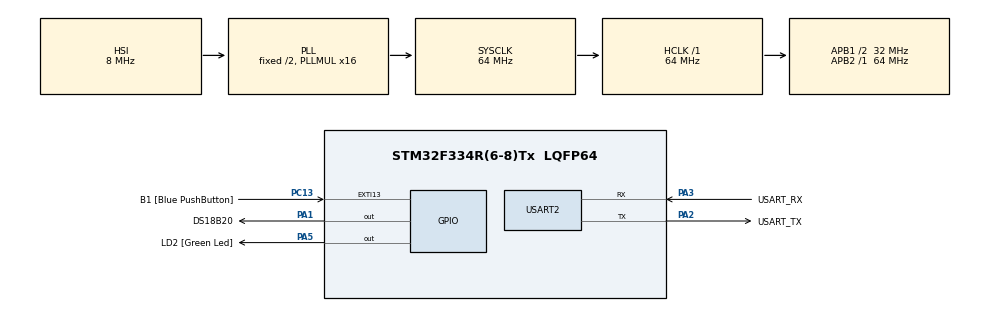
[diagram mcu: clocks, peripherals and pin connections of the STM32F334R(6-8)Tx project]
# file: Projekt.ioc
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Mcu.Family=STM32F3
Mcu.Name=STM32F334R(6-8)Tx
Mcu.Package=LQFP64
NVIC.EXTI15_10_IRQn=true\:0\:0\:false\:false\:true\:true\:true
NVIC.PriorityGroup=NVIC_PRIORITYGROUP_0
NVIC.TIM1_BRK_TIM15_IRQn=true\:0\:0\:false\:false\:true\:true\:true
NVIC.TIM3_IRQn=true\:0\:0\:false\:false\:true\:true\:true
NVIC.USART2_IRQn=true\:0\:0\:false\:false\:true\:true\:true
PA1.GPIO_Label=DS18B20
PA1.Signal=GPIO_Output
PA13.GPIO_Label=TMS
PA13.Mode=Serial_Wire
PA13.Signal=SYS_JTMS-SWDIO
PA14.GPIO_Label=TCK
PA14.Mode=Serial_Wire
PA14.Signal=SYS_JTCK-SWCLK
PA2.GPIO_Label=USART_TX
PA2.Mode=Asynchronous
PA2.Signal=USART2_TX
PA3.GPIO_Label=USART_RX
PA3.Mode=Asynchronous
PA3.Signal=USART2_RX
PA5.GPIO_Label=LD2 [Green Led]
PA5.Signal=GPIO_Output
PB3.GPIO_Label=SWO
PB3.Signal=SYS_JTDO-TRACESWO
PC13.GPIO_Label=B1 [Blue PushButton]
PC13.GPIO_ModeDefaultEXTI=GPIO_MODE_IT_FALLING
PC13.Signal=GPXTI13
PC14\ /\ OSC32_IN.Mode=LSE-External-Oscillator
PC14\ /\ OSC32_IN.Signal=RCC_OSC32_IN
PC15\ /\ OSC32_OUT.GPIO_Label=RCC_OSC32_OUT
PC15\ /\ OSC32_OUT.Mode=LSE-External-Oscillator
PC15\ /\ OSC32_OUT.Signal=RCC_OSC32_OUT
PF0\ /\ OSC_IN.Mode=HSE-External-Clock-Source
PF0\ /\ OSC_IN.Signal=RCC_OSC_IN
PF1\ /\ OSC_OUT.Signal=RCC_OSC_OUT
ProjectManager.HeapSize=0x200
ProjectManager.StackSize=0x400
ProjectManager.TargetToolchain=SW4STM32
RCC.AHBFreq_Value=64000000
RCC.APB1CLKDivider=RCC_HCLK_DIV2
RCC.APB1Freq_Value=32000000
RCC.APB1TimFreq_Value=64000000
RCC.APB2Freq_Value=64000000
RCC.APB2TimFreq_Value=64000000
RCC.CortexFreq_Value=64000000
RCC.FLatency-AdvancedSettings=FLASH_LATENCY_2
RCC.HCLKFreq_Value=64000000
RCC.HSE_VALUE=8000000
RCC.HSI_VALUE=8000000
RCC.PLLMUL=RCC_PLL_MUL16
RCC.SYSCLKFreq_VALUE=64000000
RCC.SYSCLKSourceVirtual=RCC_SYSCLKSOURCE_PLLCLK
TIM1.Period=65000
TIM1.Prescaler=63
TIM3.Period=1000-1
TIM3.Prescaler=64000-1
USART2.VirtualMode-Asynchronous=VM_ASYNC
VP_TIM1_VS_ClockSourceINT.Mode=Internal
VP_TIM3_VS_ClockSourceINT.Mode=Internal
board=NUCLEO-F334R8

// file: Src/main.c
/* USER CODE BEGIN Header */
/**
  ******************************************************************************
  * @file           : main.c
  * @brief          : Main program body
  ******************************************************************************
  * @attention
  *
  * <h2><center>&copy; Copyright (c) 2019 STMicroelectronics.
  * All rights reserved.</center></h2>
  *
  * This software component is licensed by ST under BSD 3-Clause license,
  * the "License"; You may not use this file except in compliance with the
  * License. You may obtain a copy of the License at:
  *                        opensource.org/licenses/BSD-3-Clause
  *
  ******************************************************************************
  */
/* USER CODE END Header */

#include "main.h"

/* USER CODE BEGIN Includes */
#include "ds18b20.h"
#include "onewire.h"
#include "string.h"
/* USER CODE END Includes */

/* USER CODE BEGIN PD */
#define BUF_SIZE 32
/* USER CODE END PD */

TIM_HandleTypeDef htim1;
TIM_HandleTypeDef htim3;

UART_HandleTypeDef huart2;

/* USER CODE BEGIN PV */
float temperature;
int measure_number;
char message[64];
uint8_t receive[BUF_SIZE];
uint8_t send[BUF_SIZE];
uint8_t counter=0;
int overflow=0;
int inf=0;
/* USER CODE END PV */

void SystemClock_Config(void);
static void MX_GPIO_Init(void);
static void MX_TIM1_Init(void);
static void MX_TIM3_Init(void);
static void MX_USART2_UART_Init(void);
/* USER CODE BEGIN PFP */
void Parser(uint8_t[], uint8_t);
void getTemp();
/* USER CODE END PFP */

int main(void)
{

  /* MCU Configuration--------------------------------------------------------*/

  /* Reset of all peripherals, Initializes the Flash interface and the Systick. */
  HAL_Init();

  /* Configure the system clock */
  SystemClock_Config();

  /* Initialize all configured peripherals */
  MX_GPIO_Init();
  MX_TIM1_Init();
  MX_TIM3_Init();
  MX_USART2_UART_Init();
  /* USER CODE BEGIN 2 */

  HAL_UART_Receive_IT(&huart2, receive, 1);
  HAL_UART_Transmit( &huart2, (uint8_t*)"Enter 'temp' to make measure\n",29, 10 );

  DS18B20_Init(12);

  /* USER CODE END 2 */

  /* Infinite loop */
  /* USER CODE BEGIN WHILE */
  counter=0;
  overflow=0;
  while (1)
  {
    /* USER CODE END WHILE */

  }
}

void SystemClock_Config(void)
{
  RCC_OscInitTypeDef RCC_OscInitStruct = {0};
  RCC_ClkInitTypeDef RCC_ClkInitStruct = {0};
  RCC_PeriphCLKInitTypeDef PeriphClkInit = {0};

  /** Initializes the CPU, AHB and APB busses clocks
  */
  RCC_OscInitStruct.OscillatorType = RCC_OSCILLATORTYPE_HSI;
  RCC_OscInitStruct.HSIState = RCC_HSI_ON;
  RCC_OscInitStruct.HSICalibrationValue = RCC_HSICALIBRATION_DEFAULT;
  RCC_OscInitStruct.PLL.PLLState = RCC_PLL_ON;
  RCC_OscInitStruct.PLL.PLLSource = RCC_PLLSOURCE_HSI;
  RCC_OscInitStruct.PLL.PLLMUL = RCC_PLL_MUL16;
  if (HAL_RCC_OscConfig(&RCC_OscInitStruct) != HAL_OK)
  {
    Error_Handler();
  }
  /** Initializes the CPU, AHB and APB busses clocks
  */
  RCC_ClkInitStruct.ClockType = RCC_CLOCKTYPE_HCLK|RCC_CLOCKTYPE_SYSCLK
                              |RCC_CLOCKTYPE_PCLK1|RCC_CLOCKTYPE_PCLK2;
  RCC_ClkInitStruct.SYSCLKSource = RCC_SYSCLKSOURCE_PLLCLK;
  RCC_ClkInitStruct.AHBCLKDivider = RCC_SYSCLK_DIV1;
  RCC_ClkInitStruct.APB1CLKDivider = RCC_HCLK_DIV2;
  RCC_ClkInitStruct.APB2CLKDivider = RCC_HCLK_DIV1;

  if (HAL_RCC_ClockConfig(&RCC_ClkInitStruct, FLASH_LATENCY_2) != HAL_OK)
  {
    Error_Handler();
  }
  PeriphClkInit.PeriphClockSelection = RCC_PERIPHCLK_TIM1;
  PeriphClkInit.Tim1ClockSelection = RCC_TIM1CLK_HCLK;
  if (HAL_RCCEx_PeriphCLKConfig(&PeriphClkInit) != HAL_OK)
  {
    Error_Handler();
  }
}

static void MX_TIM1_Init(void)
{

  TIM_ClockConfigTypeDef sClockSourceConfig = {0};
  TIM_MasterConfigTypeDef sMasterConfig = {0};

  htim1.Instance = TIM1;
  htim1.Init.Prescaler = 63;
  htim1.Init.CounterMode = TIM_COUNTERMODE_UP;
  htim1.Init.Period = 65000;
  htim1.Init.ClockDivision = TIM_CLOCKDIVISION_DIV1;
  htim1.Init.RepetitionCounter = 0;
  htim1.Init.AutoReloadPreload = TIM_AUTORELOAD_PRELOAD_DISABLE;
  if (HAL_TIM_Base_Init(&htim1) != HAL_OK)
  {
    Error_Handler();
  }
  sClockSourceConfig.ClockSource = TIM_CLOCKSOURCE_INTERNAL;
  if (HAL_TIM_ConfigClockSource(&htim1, &sClockSourceConfig) != HAL_OK)
  {
    Error_Handler();
  }
  sMasterConfig.MasterOutputTrigger = TIM_TRGO_RESET;
  sMasterConfig.MasterOutputTrigger2 = TIM_TRGO2_RESET;
  sMasterConfig.MasterSlaveMode = TIM_MASTERSLAVEMODE_DISABLE;
  if (HAL_TIMEx_MasterConfigSynchronization(&htim1, &sMasterConfig) != HAL_OK)
  {
    Error_Handler();
  }

}

static void MX_TIM3_Init(void)
{

  TIM_ClockConfigTypeDef sClockSourceConfig = {0};
  TIM_MasterConfigTypeDef sMasterConfig = {0};

  htim3.Instance = TIM3;
  htim3.Init.Prescaler = 64000-1;
  htim3.Init.CounterMode = TIM_COUNTERMODE_UP;
  htim3.Init.Period = 1000-1;
  htim3.Init.ClockDivision = TIM_CLOCKDIVISION_DIV1;
  htim3.Init.AutoReloadPreload = TIM_AUTORELOAD_PRELOAD_DISABLE;
  if (HAL_TIM_Base_Init(&htim3) != HAL_OK)
  {
    Error_Handler();
  }
  sClockSourceConfig.ClockSource = TIM_CLOCKSOURCE_INTERNAL;
  if (HAL_TIM_ConfigClockSource(&htim3, &sClockSourceConfig) != HAL_OK)
  {
    Error_Handler();
  }
  sMasterConfig.MasterOutputTrigger = TIM_TRGO_RESET;
  sMasterConfig.MasterSlaveMode = TIM_MASTERSLAVEMODE_DISABLE;
  if (HAL_TIMEx_MasterConfigSynchronization(&htim3, &sMasterConfig) != HAL_OK)
  {
    Error_Handler();
  }

}

static void MX_USART2_UART_Init(void)
{

  huart2.Instance = USART2;
  huart2.Init.BaudRate = 38400;
  huart2.Init.WordLength = UART_WORDLENGTH_8B;
  huart2.Init.StopBits = UART_STOPBITS_1;
  huart2.Init.Parity = UART_PARITY_NONE;
  huart2.Init.Mode = UART_MODE_TX_RX;
  huart2.Init.HwFlowCtl = UART_HWCONTROL_NONE;
  huart2.Init.OverSampling = UART_OVERSAMPLING_16;
  huart2.Init.OneBitSampling = UART_ONE_BIT_SAMPLE_DISABLE;
  huart2.AdvancedInit.AdvFeatureInit = UART_ADVFEATURE_NO_INIT;
  if (HAL_UART_Init(&huart2) != HAL_OK)
  {
    Error_Handler();
  }

}

static void MX_GPIO_Init(void)
{
  GPIO_InitTypeDef GPIO_InitStruct = {0};

  /* GPIO Ports Clock Enable */
  __HAL_RCC_GPIOC_CLK_ENABLE();
  __HAL_RCC_GPIOF_CLK_ENABLE();
  __HAL_RCC_GPIOA_CLK_ENABLE();
  __HAL_RCC_GPIOB_CLK_ENABLE();

  /*Configure GPIO pin Output Level */
  HAL_GPIO_WritePin(GPIOA, DS18B20_Pin|LD2_Pin, GPIO_PIN_RESET);

  /*Configure GPIO pin : B1_Pin */
  GPIO_InitStruct.Pin = B1_Pin;
  GPIO_InitStruct.Mode = GPIO_MODE_IT_FALLING;
  GPIO_InitStruct.Pull = GPIO_NOPULL;
  HAL_GPIO_Init(B1_GPIO_Port, &GPIO_InitStruct);

  /*Configure GPIO pins : DS18B20_Pin LD2_Pin */
  GPIO_InitStruct.Pin = DS18B20_Pin|LD2_Pin;
  GPIO_InitStruct.Mode = GPIO_MODE_OUTPUT_PP;
  GPIO_InitStruct.Pull = GPIO_NOPULL;
  GPIO_InitStruct.Speed = GPIO_SPEED_FREQ_LOW;
  HAL_GPIO_Init(GPIOA, &GPIO_InitStruct);

  /* EXTI interrupt init*/
  HAL_NVIC_SetPriority(EXTI15_10_IRQn, 0, 0);
  HAL_NVIC_EnableIRQ(EXTI15_10_IRQn);

}

/* USER CODE BEGIN 4 */
void HAL_UART_RxCpltCallback(UART_HandleTypeDef *huart)
{

	if((receive[counter])=='\n')
	{
		if(overflow)
		{
			HAL_UART_Transmit( &huart2, (uint8_t*)"Przekroczono bufor wejsciowy\n",29, 10 );
			overflow=0;
			counter=0;
			HAL_UART_Receive_IT(&huart2, receive, 1);
		}else{
			HAL_UART_Receive_IT(&huart2, receive, 1);
			Parser(receive, counter);
			counter=0;
		}
	}else if(counter>=BUF_SIZE) //zmien flage przepe³nienia i wczytaj tekst do konca
	{
		overflow=1;
		counter=0;
		HAL_UART_Receive_IT(&huart2, receive, 1);
	}else  //wczytaj nastepny znak wejscia
	{
		counter++;
		HAL_UART_Receive_IT(&huart2, receive + counter, 1);
	}

}

void Parser(uint8_t* mess, uint8_t counter)
{
	const char t_cmd[]="temp";
	int freq, amount;
	if(memcmp(mess, t_cmd, strlen(t_cmd))==0 && counter==4) //odczyt co sekunde w nieskonczonosc
	{
		HAL_GPIO_WritePin(GPIOA, DS18B20_Pin|LD2_Pin, GPIO_PIN_RESET);
		inf=1;
		freq=1000;
		measure_number=1;
		htim3.Init.Period=freq;
		HAL_TIM_Base_Init(&htim3);
		HAL_TIM_Base_Start_IT(&htim3);
	}
	else if(memcmp(mess, t_cmd, strlen(t_cmd))==0)
	{
		inf=0;
		HAL_GPIO_WritePin(GPIOA, DS18B20_Pin|LD2_Pin, GPIO_PIN_SET);
		sscanf((char*)(mess + strlen(t_cmd))," %d %d", &freq, &amount);

		measure_number=amount;
		if (freq < 2)		freq = 1;
		else		freq = freq - 1;

		htim3.Init.Period=freq;
		HAL_TIM_Base_Init(&htim3);
		HAL_TIM_Base_Start_IT(&htim3);

	}else
	{
		inf=0;

	}
}

void getTemp()
 {
	 DS18B20_ReadAll(); //wykrywanie wszystkich czujników

	 DS18B20_StartAll(); //active
	 uint8_t ROM_tmp[8];
	 uint8_t i;
	 for(i = 0; i < DS18B20_Quantity(); i++)  //pêtla po wszystkich czujnikach
	 {
	 	 if(DS18B20_GetTemperature(i, &temperature))
	 	 {
	 		 DS18B20_GetROM(i, ROM_tmp);
	 		 //HAL_GPIO_TogglePin(GPIOA, DS18B20_Pin|LD2_Pin);
	 		 int a = sprintf(message, "Temp %f\n\r", temperature);

	 		 HAL_UART_Transmit(&huart2, (uint8_t*)message, a, 100);

	 	 }
	 }
	 HAL_UART_Transmit(&huart2, (uint8_t*)"\n\r", sizeof("\n\r")-1, 100);

 }

void HAL_TIM_PeriodElapsedCallback(TIM_HandleTypeDef *htim)
{
	if(htim->Instance == TIM3){
	if(inf==1)
	{
		getTemp();
	}
	else if(measure_number)
	 {
		 getTemp();
		 measure_number--;
	 }else
	 {
		 HAL_TIM_Base_Stop_IT(&htim3);
	 }
	 }
}

/* USER CODE END 4 */

void Error_Handler(void)
{
}

/************************ (C) COPYRIGHT STMicroelectronics *****END OF FILE****/
